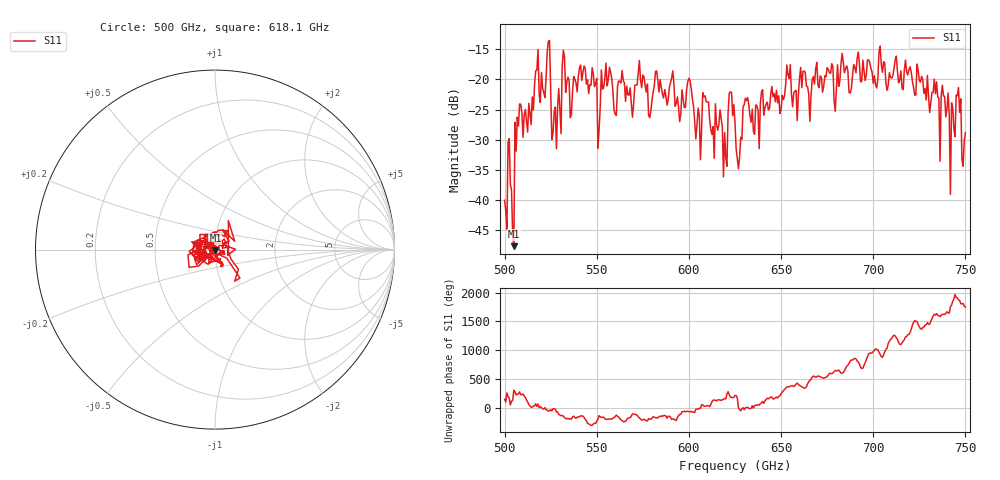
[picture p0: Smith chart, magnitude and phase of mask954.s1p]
!Created with skrf (http://scikit-rf.org).
# GHz S MA R 50.0
!freq magS11 angS11
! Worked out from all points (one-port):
!   401 points, 500 GHz to 750 GHz, reference 50 ohm
!   lowest |S11| = -47.7 dB at 505 GHz (marker M1), VSWR 1.01, Z = 50.2 - j0.346 ohm
!   |S11| at or under -10 dB: start of sweep to end of sweep
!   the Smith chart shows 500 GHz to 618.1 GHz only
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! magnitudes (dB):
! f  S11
! 500 GHz  -40.1
! 505 GHz  -47.7
! 506.9 GHz  -26.3
! 513.1 GHz  -24.0
! 517.5 GHz  -18.5
! 523.8 GHz  -13.7
! 526.9 GHz  -25.5
! 531.2 GHz  -17.8
! 548.8 GHz  -21.2
! 550.6 GHz  -31.4
! 553.8 GHz  -21.3
! 560 GHz  -25.8
! 562.5 GHz  -20.3
! 593.8 GHz  -22.9
! 600 GHz  -19.8
! 605 GHz  -24.8
! 608.8 GHz  -22.7
! 619.4 GHz  -28.8
! 623.1 GHz  -22.2
! 625 GHz  -27.2
! 626.9 GHz  -34.8
! 630.6 GHz  -23.1
! 656.2 GHz  -24.5
! 687.5 GHz  -22.3
! 718.8 GHz  -19.2
! 743.1 GHz  -24.7
! 746.2 GHz  -21.3
! 750 GHz  -28.8
